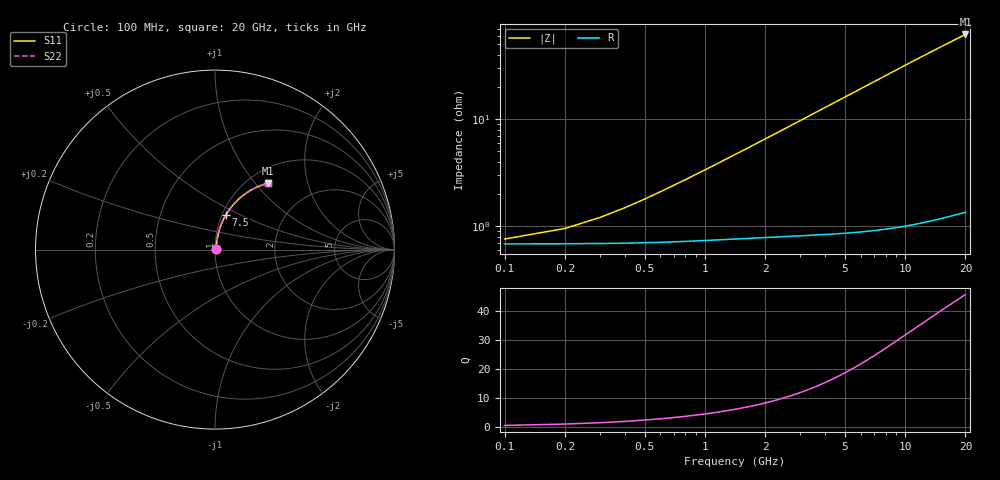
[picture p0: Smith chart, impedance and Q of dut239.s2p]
! Touchstone file exported from HFSS 2026.1.0
!  File:  C:/ffzhzh/LocalFiles/Ansys_Project_Files/temp_train_TMRDL_239_1782984637_45328.aedt
!  Generated:  05:31:51 PM Jul  2, 2026
!  Design:  TMRDL
!  Project:  temp_train_TMRDL_239_1782984637_45328
! Variables:
!  h_bsmrdl = 2um
!  h_ox = 20um
!  h_rdl = 5um
!  h_sub = 80um
!  h_tmrdl = 2.09um
!  h_tsv = 80um
!  h_via = 3um
!  l_bsmrdl = 300um
!  l_sub = 806.3um
!  l_tmrdl = 406.3um
!  m_sub = 200um
!  pitch = 53.65um
!  r_tsv = 6um
!  s_tmrdl = 10um
!  w_bsmrdl = 18um
!  w_sub = 500um
!  w_tmrdl = 10.29um
!  x_tsv_center1 = 411.445um
!  x_tsv_center2 = 729.445um
!  x_tsv_center3 = 1146.035um
!  x_tsv_center4 = 1464.035um
!  x_tsv_center5 = 1880.625um
!  x_tsv_center6 = 2198.625um
# GHz S MA R 50.000000
! Terminal data exported
! Port[1] = TM_RDL1_1_T1
! Port[2] = TM_RDL1_1_T2
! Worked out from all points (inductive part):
!   200 points, 100 MHz to 20 GHz, reference 50 ohm
!   read as one part in series: L = 521 pH near 700 MHz
!   highest Q = 45.7 at 20 GHz (marker M1), where L = 491 pH
!   S11 on the Smith chart (normalised r, x): 100 MHz: 1.01, +0.01; 7.5 GHz: 1.04, +0.43; 20 GHz: 1.22, +1.16
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0.1  0.007397 23.0  0.9932 -0.2  0.9932 -0.2  0.007397 23.0
! Gamma 0 0 0 0
! Port Impedance 50 0 50 0
0.4  0.01352 58.4  0.993 -0.8  0.993 -0.8  0.01352 58.4
0.6  0.01875 66.7  0.9928 -1.3  0.9928 -1.3  0.01875 66.7
0.7  0.02145 69.2  0.9927 -1.5  0.9927 -1.5  0.02145 69.2
0.9  0.02691 72.5  0.9924 -1.9  0.9924 -1.9  0.02691 72.5
1.2  0.03516 75.3  0.992 -2.5  0.992 -2.5  0.03516 75.3
1.4  0.04068 76.4  0.9917 -2.9  0.9917 -2.9  0.04068 76.4
1.7  0.04895 77.5  0.9912 -3.5  0.9912 -3.5  0.04895 77.5
2.2  0.06274 78.3  0.9902 -4.5  0.9902 -4.5  0.06273 78.3
2.8  0.07926 78.4  0.9889 -5.7  0.9889 -5.7  0.07926 78.5
3.5  0.09847 78.1  0.987 -7.2  0.987 -7.2  0.09847 78.1
4.2  0.1176 77.4  0.9848 -8.6  0.9848 -8.6  0.1176 77.4
5  0.1392 76.3  0.9818 -10.2  0.9818 -10.2  0.1392 76.4
5.9  0.1633 75.0  0.978 -12.0  0.978 -12.0  0.1633 75.0
6.8  0.187 73.6  0.9736 -13.7  0.9736 -13.7  0.187 73.6
7.5  0.2051 72.4  0.9698 -15.1  0.9698 -15.1  0.2051 72.4
8.7  0.2355 70.3  0.9626 -17.4  0.9626 -17.4  0.2355 70.3
10.1  0.2699 67.9  0.9533 -20.1  0.9533 -20.1  0.2699 67.9
11.7  0.3076 65.1  0.9416 -23.0  0.9416 -23.0  0.3076 65.1
13.4  0.3456 62.2  0.928 -26.1  0.928 -26.1  0.3456 62.2
16.7  0.4131 56.7  0.8996 -31.8  0.8996 -31.8  0.4131 56.7
20  0.4724 51.5  0.8696 -37.0  0.8696 -37.0  0.4724 51.6
